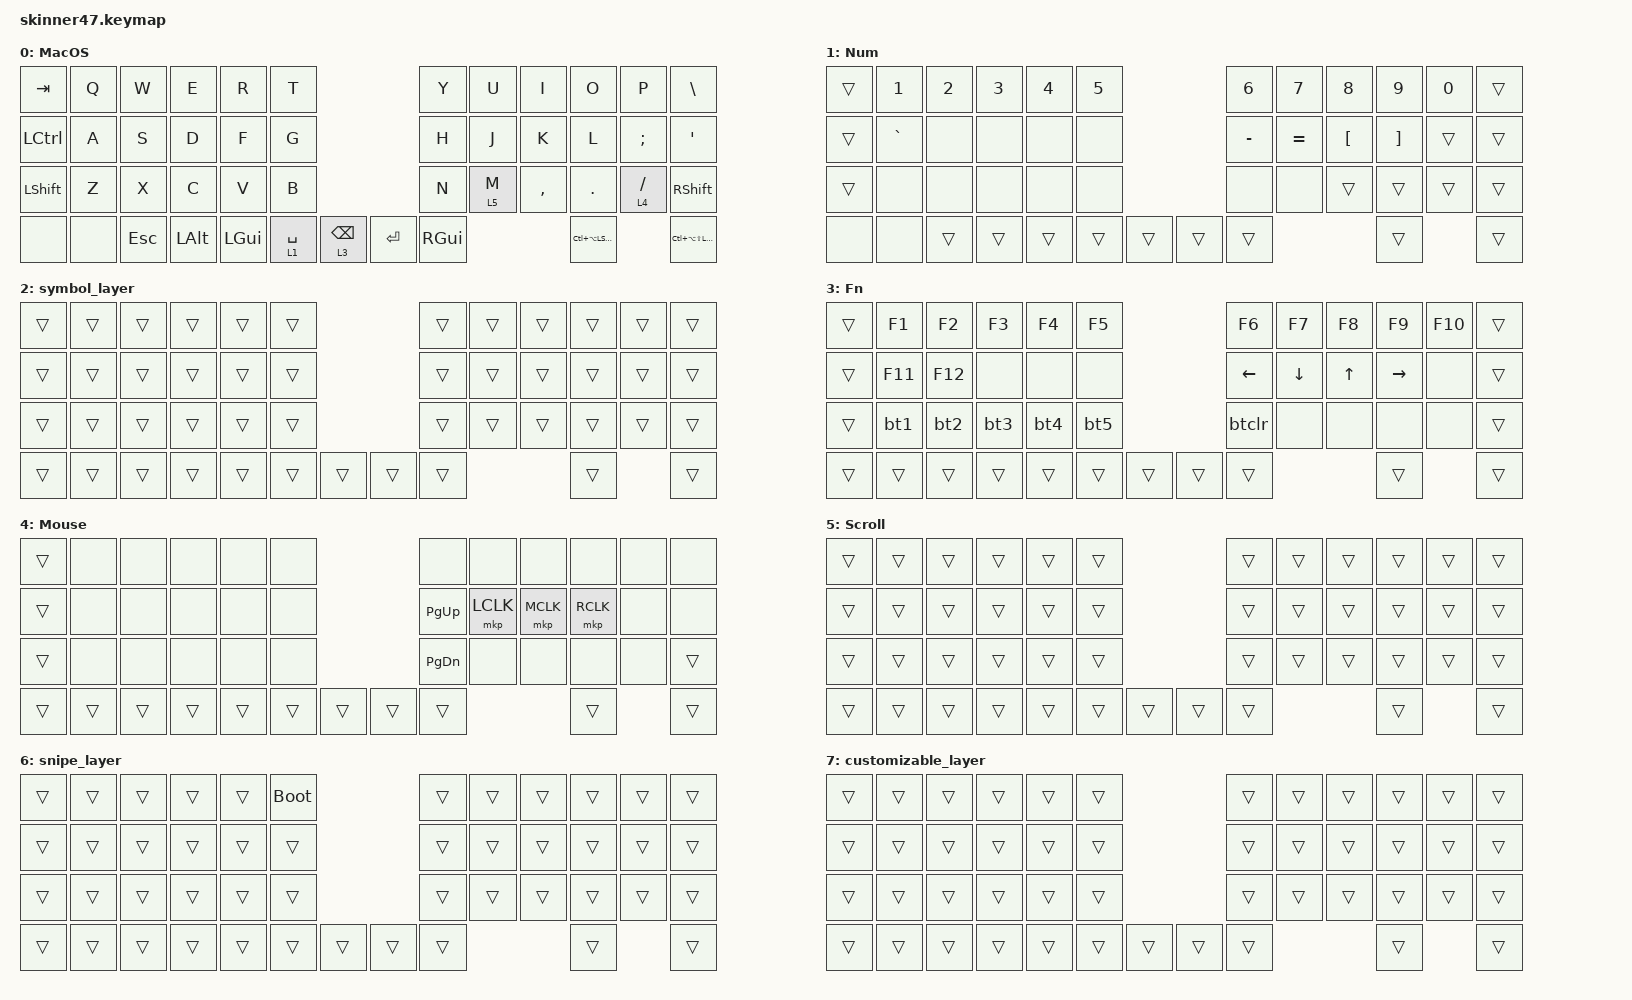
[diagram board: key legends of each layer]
#include <behaviors.dtsi>
#include <dt-bindings/zmk/bt.h>
#include <dt-bindings/zmk/keys.h>
#include <dt-bindings/zmk/pointing.h>


// reduce the default hold time slightly
&mt {
    // tapping-term-ms = <200>; // This is the value already set by default
    flavor = "tap-preferred";
    tapping-term-ms = <185>;
    quick-tap-ms = <0>;
};
&lt {
    // tapping-term-ms = <200>; // This is the value already set by default
    flavor = "tap-preferred";
    tapping-term-ms = <185>;
    quick-tap-ms= <0>;
};


/ {
    macros {
	// ---- MacOS ----
        // Emoji
        memoji: memoji {
            label = "mac_emoji";
            compatible = "zmk,behavior-macro";
            #binding-cells = <0>;
            bindings = <&macro_press &kp LGUI>, <&macro_press &kp LCTRL>, <&macro_tap &kp SPACE>, <&macro_release &kp LCTRL>, <&macro_release &kp LGUI>;
        };
        guinum: gui_num {
            label = "GUI_NUM";
            compatible = "zmk,behavior-macro";
            #binding-cells = <0>;
            bindings = <&macro_press &mo 1 &kp LGUI>, <&macro_pause_for_release>, <&macro_release &mo 1 &kp LGUI>;
        };
    };

    behaviours {
        // Bluetooth Macros
        bt1: bt1 {
            compatible = "zmk,behavior-macro";
            label = "BT1";
            #binding-cells = <0>;
            bindings = <&bt BT_SEL 0>;
        };
        bt2: bt2 {
            compatible = "zmk,behavior-macro";
            label = "BT2";
            #binding-cells = <0>;
            bindings = <&bt BT_SEL 1>;
        };
        bt3: bt3 {
            compatible = "zmk,behavior-macro";
            label = "BT3";
            #binding-cells = <0>;
            bindings = <&bt BT_SEL 2>;
        };
        bt4: bt4 {
            compatible = "zmk,behavior-macro";
            label = "BT4";
            #binding-cells = <0>;
            bindings = <&bt BT_SEL 3>;
        };
        bt5: bt5 {
            compatible = "zmk,behavior-macro";
            label = "BT5";
            #binding-cells = <0>;
            bindings = <&bt BT_SEL 4>;
        };

        btclr: btclear {
            compatible = "zmk,behavior-macro";
            label = "BT_CLEAR";
            #binding-cells = <0>;
            bindings = <&bt BT_CLR>;
        };
    };

    keymap {
        compatible = "zmk,keymap";

        default_layer {
            label = "MacOS";
            bindings = <
// -------------------------------------------------------------------------------------------------------------------------
// | TAB   |   Q   |   W   |   E   |   R   |   T   |+++++++++++++++++++++++|   Y   |   U   |   I   |   O   |   P   |   \   |
// |       |       |       |       |       |       |+++++++++++++++++++++++|       |       |       |       |       |   |   |
// |-------|-------|-------|-------|-------|-------|+++++++++++++++++++++++|-------|-------|-------|-------|-------|-------|
// | LCTRL |   A   |   S   |   D   |   F   |   G   |+++++++++++++++++++++++|   H   |   J   |   K   |   L   |   ;   |   '   |
// |       |       |       |       |       |       |+++++++++++++++++++++++|       |       |       |       |   :   |   "   |
// |-------|-------|-------|-------|-------|-------|+++++++++++++++++++++++|-------|-------|-------|-------|-------|-------|
// | LSHFT |   Z   |   X   |   C   |   V   |   B   |+++++++++++++++++++++++|   N   |   M   |   ,   |   .   |   /   | RSHFT |
// |       |       |       |       |       |       |+++++++++++++++++++++++|       |       |   <   |   >   |   ?   |       |
// |-------|-------|-------|-------|-------|-------|--------+++++++--------|-------|-------|-------|-------|-------|-------|
// |       |       |  ESC  | LALT  | LGUI  | SPACE | BKSPC |+++++++| ENTER | RGUI  |       TrackBall       | MEH   | HYPER |
// |       |       |       |       |       | Num   | Fn    |+++++++|       |       |                       |       |       |
// |-------|-------|-------|-------|-------|-------| ------|+++++++|------ |-------|-------|-------|-------|-------|-------|

&kp TAB    &kp Q   &kp W    &kp E     &kp R     &kp T                                   &kp Y  &kp U    &kp I      &kp O    &kp P       &kp BACKSLASH
&kp LCTRL  &kp A   &kp S    &kp D     &kp F     &kp G                                   &kp H  &kp J    &kp K      &kp L    &kp SEMI    &kp SQT
&kp LSHFT  &kp Z   &kp X    &kp C     &kp V     &kp B                                   &kp N  &lt 5 M  &kp COMMA  &kp DOT  &lt 4 FSLH  &kp RSHFT
&none      &none   &kp ESC  &kp LALT  &kp LGUI  &lt 1 SPACE  &lt 3 BACKSPACE   &kp RET  &kp RGUI /*  TrackBall  */ &kp LC(LA(LSHFT))    &kp LC(LA(LS(LGUI)))
            >;
        };

        number_layer {
	    label = "Num";
            bindings = <
// -------------------------------------------------------------------------------------------------------------------------
// | TAB   |   1   |   2   |   3   |   4   |   5   |+++++++++++++++++++++++|   6   |   7   |   8   |   9   |   0   |   \   |
// |       |   !   |   @   |   #   |   $   |   %   |+++++++++++++++++++++++|   ^   |   &   |   *   |   (   |   )   |   |   |
// |-------|-------|-------|-------|-------|-------|+++++++++++++++++++++++|-------|-------|-------|-------|-------|-------|
// | LCTRL |   `   |       |       |       |       |+++++++++++++++++++++++|   -   |   =   |   [   |   ]   |   ;   |   '   |
// |       |   ~   |       |       |       |       |+++++++++++++++++++++++|   _   |   +   |   {   |   }   |   :   |   "   |
// |-------|-------|-------|-------|-------|-------|+++++++++++++++++++++++|-------|-------|-------|-------|-------|-------|
// | LSHFT |       |       |       |       |       |+++++++++++++++++++++++|       |       |   ,   |   .   |   /   | RSHFT |
// |       |       |       |       |       |       |+++++++++++++++++++++++|       |       |   <   |   >   |   ?   |       |
// |-------|-------|-------|-------|-------|-------|--------+++++++--------|-------|-------|-------|-------|-------|-------|
// |       |       |  ESC  | LALT  | LGUI  | SPACE | BKSPC |+++++++| ENTER | RGUI  |       TrackBall       | MEH   | HYPER |
// |       |       |       |       |       | Num   | Fn    |+++++++|       |       |                       |       |       |
// |-------|-------|-------|-------|-------|-------| ------|+++++++|------ |-------|-------|-------|-------|-------|-------|

&trans    &kp N1      &kp N2  &kp N3  &kp N4  &kp N5                       &kp N6     &kp N7     &kp N8    &kp N9    &kp N0    &trans
&trans    &kp GRAVE   &none   &none   &none   &none                        &kp MINUS  &kp EQUAL  &kp LBKT  &kp RBKT  &trans    &trans
&trans    &none       &none   &none   &none   &none                        &none      &none      &trans    &trans    &trans    &trans
&none     &none       &trans  &trans  &trans  &trans  &trans       &trans  &trans /*    TrackBall      */  &trans  &trans
            >;
        };

// This was part of the original layers, but I'm not using it for anything so just making it do nothing.
// this layer shouldn't be referenced
	symbol_layer {
            bindings = <
    &trans  &trans  &trans  &trans  &trans  &trans                      &trans  &trans  &trans  &trans  &trans  &trans
    &trans  &trans  &trans  &trans  &trans  &trans                      &trans  &trans  &trans  &trans  &trans  &trans
    &trans  &trans  &trans  &trans  &trans  &trans                      &trans  &trans  &trans  &trans  &trans  &trans
    &trans  &trans  &trans  &trans  &trans  &trans  &trans      &trans  &trans                          &trans  &trans
            >;
        };

        function_layer {
	    label = "Fn";
            bindings = <
// -------------------------------------------------------------------------------------------------------------------------
// |       | F1    | F2    | F3    | F4    | F5    |+++++++++++++++++++++++| F6    | F7    | F8    | F9    | F10   |   \   |
// |       |       |       |       |       |       |+++++++++++++++++++++++|       |       |       |       |       |   |   |
// |-------|-------|-------|-------|-------|-------|+++++++++++++++++++++++|-------|-------|-------|-------|-------|-------|
// |       | F11   | F12   |       |       |       |+++++++++++++++++++++++| Left  | Down  | Up    | Right |   ;   |   '   |
// |       |       |       |       |       |       |+++++++++++++++++++++++|       |       |       |       |       |   "   |
// |-------|-------|-------|-------|-------|-------|+++++++++++++++++++++++|-------|-------|-------|-------|-------|-------|
// |       | BT1   | BT2   | BT3   | BT4   | BT5   |+++++++++++++++++++++++| BTCLR |       |   ,   |   .   |   /   | RSHFT |
// |       |       |       |       |       |       |+++++++++++++++++++++++|       |       |   <   |   >   |   ?   |       |
// |-------|-------|-------|-------|-------|-------|--------+++++++--------|-------|-------|-------|-------|-------|-------|
// |       |       |  ESC  | LALT  | LGUI  | SPACE | BKSPC |+++++++| ENTER | RGUI  |       TrackBall       | MEH   | HYPER |
// |       |       |       |       |       | Num   | Fn    |+++++++|       |       |                       |       |       |
// |-------|-------|-------|-------|-------|-------| ------|+++++++|------ |-------|-------|-------|-------|-------|-------|
    &trans  &kp F1   &kp F2    &kp F3   &kp F4   &kp F5                     &kp F6    &kp F7    &kp F8  &kp F9     &kp F10  &trans
    &trans  &kp F11  &kp F12   &none    &none    &none                      &kp LEFT  &kp DOWN  &kp UP  &kp RIGHT  &none    &trans
    &trans  &bt1     &bt2      &bt3     &bt4     &bt5                       &btclr    &none     &none   &none      &none    &trans
    &trans  &trans  &trans     &trans   &trans   &trans  &trans     &trans  &trans /*         TrackBall         */ &trans   &trans
            >;
        };

        mouse_layer {
	    label = "Mouse";
            bindings = <
// -------------------------------------------------------------------------------------------------------------------------
// |       |       |       |       |       |       |+++++++++++++++++++++++|       |       |       |       |       |       |
// |       |       |       |       |       |       |+++++++++++++++++++++++|       |       |       |       |       |       |
// |-------|-------|-------|-------|-------|-------|+++++++++++++++++++++++|-------|-------|-------|-------|-------|-------|
// |       |       |       |       |       |       |+++++++++++++++++++++++| PGUP  | Left  | Mid   | Right |       |       |
// |       |       |       |       |       |       |+++++++++++++++++++++++|       | Click | Click | Click |       |       |
// |-------|-------|-------|-------|-------|-------|+++++++++++++++++++++++|-------|-------|-------|-------|-------|-------|
// |       |       |       |       |       |       |+++++++++++++++++++++++| PGDWN |       |       |       |       | RSHFT |
// |       |       |       |       |       |       |+++++++++++++++++++++++|       |       |       |       |       |       |
// |-------|-------|-------|-------|-------|-------|--------+++++++--------|-------|-------|-------|-------|-------|-------|
// |       |       |  ESC  | LALT  | LGUI  | SPACE | BKSPC |+++++++| ENTER | RGUI  |       TrackBall       | MEH   | HYPER |
// |       |       |       |       |       | Num   | Fn    |+++++++|       |       |                       |       |       |
// |-------|-------|-------|-------|-------|-------| ------|+++++++|------ |-------|-------|-------|-------|-------|-------|

&trans  &none   &none   &none   &none    &none                              &none          &none      &none      &none      &none     &none 
&trans  &none   &none   &none   &none    &none                              &kp PAGE_UP    &mkp LCLK  &mkp MCLK  &mkp RCLK  &none     &none
&trans  &none   &none   &none   &none    &none                              &kp PAGE_DOWN  &none      &none      &none      &none     &trans
&trans  &trans  &trans  &trans  &trans   &trans  &trans             &trans  &trans  /*            TrackBall            */   &trans    &trans
            >;
        };

// These were part of the default, no sure if they are needed, but I'm leaving them just in case
        scroll_layer {
	    label = "Scroll";
            bindings = <
&trans  &trans  &trans  &trans  &trans  &trans                  &trans  &trans  &trans  &trans  &trans  &trans
&trans  &trans  &trans  &trans  &trans  &trans                  &trans  &trans  &trans  &trans  &trans  &trans
&trans  &trans  &trans  &trans  &trans  &trans                  &trans  &trans  &trans  &trans  &trans  &trans
&trans  &trans  &trans  &trans  &trans  &trans  &trans  &trans  &trans                          &trans  &trans
            >;
        };

        snipe_layer {
            bindings = <
&trans  &trans  &trans  &trans  &trans  &bootloader                  &trans  &trans  &trans  &trans  &trans  &trans
&trans  &trans  &trans  &trans  &trans  &trans                       &trans  &trans  &trans  &trans  &trans  &trans
&trans  &trans  &trans  &trans  &trans  &trans                       &trans  &trans  &trans  &trans  &trans  &trans
&trans  &trans  &trans  &trans  &trans  &trans       &trans  &trans  &trans                          &trans  &trans
            >;
        };

        customizable_layer {
            bindings = <
&trans  &trans  &trans  &trans  &trans  &trans                  &trans  &trans  &trans  &trans  &trans  &trans
&trans  &trans  &trans  &trans  &trans  &trans                  &trans  &trans  &trans  &trans  &trans  &trans
&trans  &trans  &trans  &trans  &trans  &trans                  &trans  &trans  &trans  &trans  &trans  &trans
&trans  &trans  &trans  &trans  &trans  &trans  &trans  &trans  &trans                          &trans  &trans
            >;
        };
    };
};
